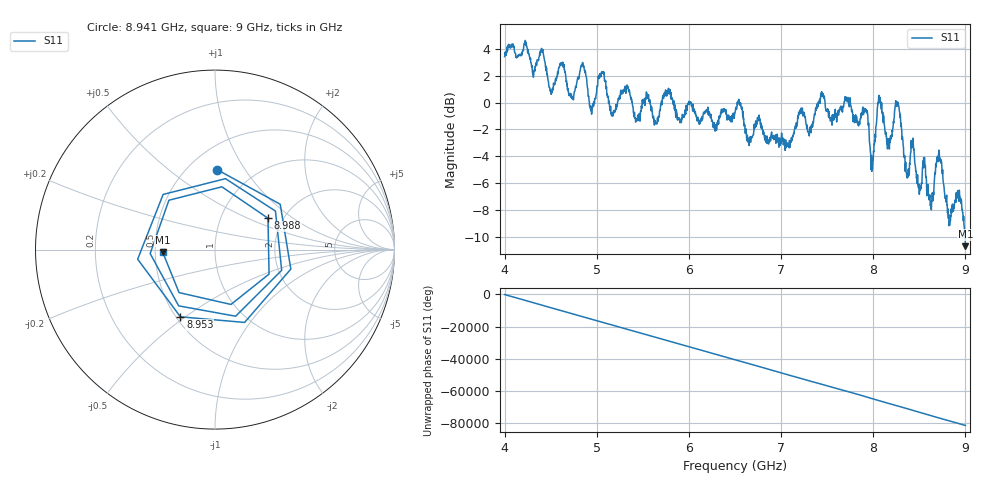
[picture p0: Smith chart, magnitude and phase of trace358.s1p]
! Created with skrf 1.8.0 (http://scikit-rf.org).
# Hz S RI R 50.0
!freq ReS11 ImS11
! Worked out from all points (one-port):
!   1601 points, 4 GHz to 9 GHz, reference 50 ohm
!   lowest |S11| = -10.7 dB at 9 GHz (marker M1), VSWR 1.82, Z = 27.4 - j0.93 ohm
!   |S11| at or under -10 dB: 8.995006 GHz to end of sweep
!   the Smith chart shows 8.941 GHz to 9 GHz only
!   S11 on the Smith chart (normalised r, x): 8.941 GHz: 0.69, +0.76; 8.953 GHz: 0.53, -0.48; 8.988 GHz: 1.67, +0.66; 9 GHz: 0.55, -0.02
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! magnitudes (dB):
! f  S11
! 4 GHz  3.4
! 4.403 GHz  4.0
! 4.503 GHz  0.7
! 4.625 GHz  2.8
! 4.722 GHz  0.6
! 4.844 GHz  3.0
! 4.941 GHz  -0.3
! 5.053 GHz  2.2
! 5.162 GHz  -0.9
! 5.25 GHz  0.5
! 5.875 GHz  -1.3
! 6.5 GHz  -0.8
! 7.125 GHz  -2.5
! 7.75 GHz  0.4
! 7.922 GHz  -0.5
! 7.988 GHz  -4.7
! 8.066 GHz  0.5
! 8.166 GHz  -2.9
! 8.262 GHz  -0.3
! 8.375 GHz  -5.6
! 8.428 GHz  -2.8
! 8.628 GHz  -7.9
! 8.716 GHz  -3.7
! 8.825 GHz  -8.9
! 8.941 GHz  -7.0
! 8.953 GHz  -7.5
! 8.988 GHz  -9.3
! 9 GHz  -10.7
